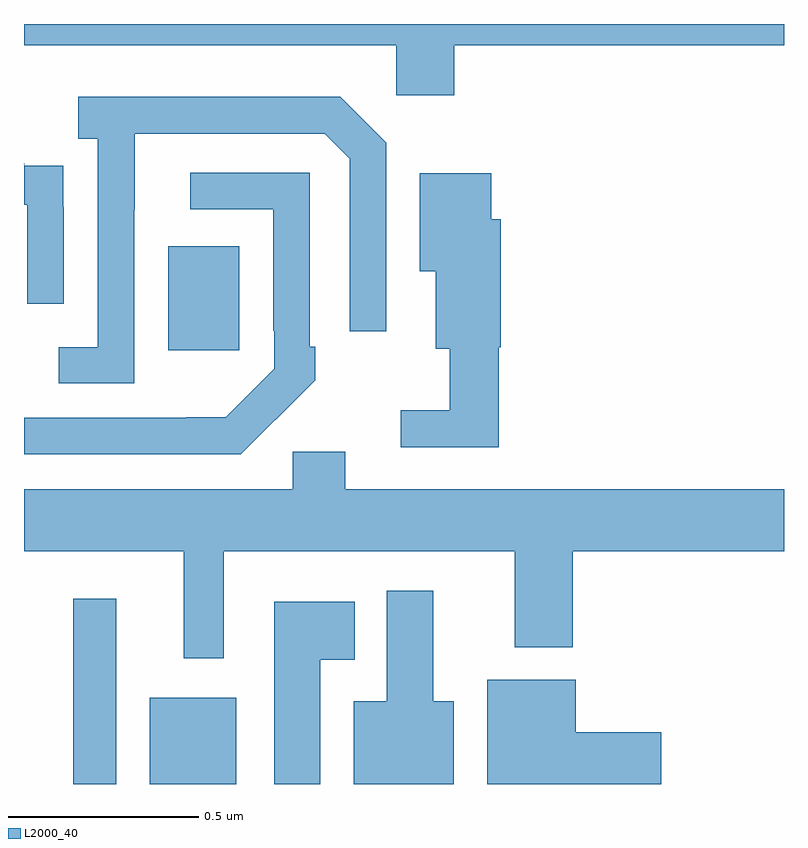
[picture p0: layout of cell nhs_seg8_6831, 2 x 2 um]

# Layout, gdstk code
import gdstk
lib = gdstk.Library(unit=1e-6, precision=1e-09)
def R(c, l, rs):  # rectangles x0, y0, x1, y1
    for r in rs: c.add(gdstk.rectangle(r[:2], r[2:], *l))
def P(c, l, *ps):  # polygons
    for p in ps: c.add(gdstk.Polygon(p, *l))
L2000_40 = (2000, 40)

nhs_seg8_6831 = lib.new_cell('nhs_seg8_6831')
R(nhs_seg8_6831, L2000_40, [(202.129,1103.9,202.243,1104.388), (202.331,1103.9,202.558,1104.127), (202.379,1105.041,202.567,1105.315)])
P(nhs_seg8_6831, L2000_40, [(203.132,1105.844),(204,1105.844),(204,1105.9),(202,1105.9),(202,1105.844),(202.98,1105.844),(202.98,1105.713),(203.132,1105.713)],
  [(202.29,1105.411),(202.291,1105.411),(202.291,1105.611),(202.791,1105.611),(202.857,1105.545),(202.857,1105.092),(202.953,1105.092),(202.953,1105.587),(202.832,1105.708),(202.143,1105.708),(202.143,1105.598),(202.194,1105.598),(202.194,1105.05),(202.092,1105.05),(202.092,1104.954),(202.29,1104.954)],
  [(202.104,1105.418),(202.103,1105.418),(202.103,1105.527),(202.001,1105.527),(202.001,1105.534),(202,1105.534),(202,1105.425),(202.008,1105.425),(202.008,1105.164),(202.104,1105.164)],
  [(202.661,1104.859),(202.662,1104.858),(202.767,1104.963),(202.767,1105.051),(202.752,1105.051),(202.752,1105.509),(202.437,1105.509),(202.437,1105.413),(202.656,1105.413),(202.656,1105.093),(202.659,1105.093),(202.659,1104.993),(202.531,1104.865),(202.427,1104.865),(202.427,1104.864),(202,1104.864),(202,1104.768),(202.57,1104.768)],
  [(203.249,1105.05),(203.255,1105.05),(203.255,1105.386),(203.23,1105.386),(203.23,1105.507),(203.042,1105.507),(203.042,1105.25),(203.084,1105.25),(203.084,1105.046),(203.121,1105.046),(203.121,1104.883),(202.992,1104.883),(202.992,1104.786),(203.249,1104.786)],
  [(203.291,1104.26),(203.444,1104.26),(203.444,1104.512),(204,1104.512),(204,1104.676),(202.846,1104.676),(202.846,1104.774),(202.707,1104.774),(202.707,1104.676),(202,1104.676),(202,1104.512),(202.421,1104.512),(202.421,1104.231),(202.525,1104.231),(202.525,1104.512),(203.291,1104.512)],
  [(203.131,1104.118),(203.077,1104.118),(203.077,1104.409),(202.955,1104.409),(202.955,1104.118),(202.868,1104.118),(202.868,1103.9),(203.131,1103.9)],
  [(202.78,1104.227),(202.87,1104.227),(202.87,1104.379),(202.658,1104.379),(202.658,1103.9),(202.78,1103.9)],
  [(203.677,1104.036),(203.452,1104.036),(203.452,1104.175),(203.219,1104.175),(203.219,1103.9),(203.677,1103.9)])

lib.write_gds('nhs_seg8_6831.gds')
